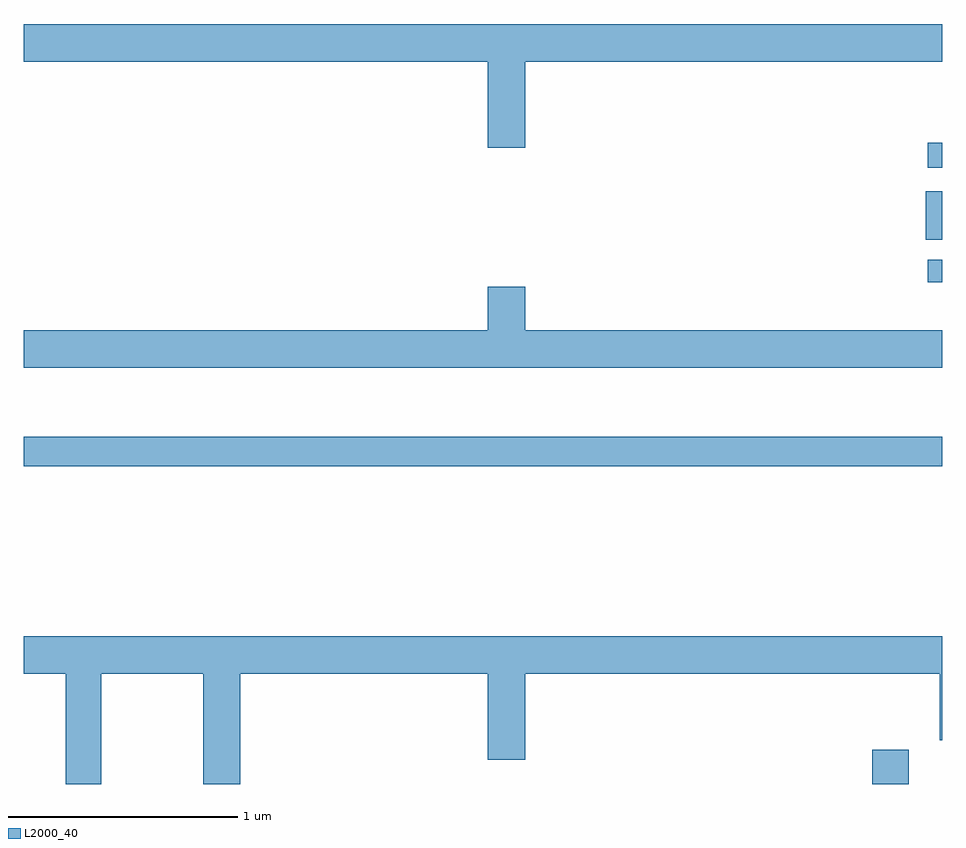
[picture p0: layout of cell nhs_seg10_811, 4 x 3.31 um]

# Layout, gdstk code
import gdstk
lib = gdstk.Library(unit=1e-6, precision=1e-09)
def R(c, l, rs):  # rectangles x0, y0, x1, y1
    for r in rs: c.add(gdstk.rectangle(r[:2], r[2:], *l))
def P(c, l, *ps):  # polygons
    for p in ps: c.add(gdstk.Polygon(p, *l))
L2000_40 = (2000, 40)

nhs_seg10_811 = lib.new_cell('nhs_seg10_811')
R(nhs_seg10_811, L2000_40, [(154.694,1302.5,154.854,1302.649), (151,1303.882,155,1304.011), (154.935,1304.685,155,1304.781), (154.928,1304.87,155,1305.079), (154.935,1305.183,155,1305.292)])
P(nhs_seg10_811, L2000_40, [(153.184,1305.644),(155,1305.644),(155,1305.808),(151,1305.808),(151,1305.644),(153.02,1305.644),(153.02,1305.27),(153.184,1305.27)],
  [(155,1304.476),(153.184,1304.476),(153.184,1304.665),(153.02,1304.665),(153.02,1304.476),(151,1304.476),(151,1304.312),(155,1304.312)],
  [(151.338,1302.98),(151.783,1302.98),(151.783,1302.5),(151.943,1302.5),(151.943,1302.98),(153.02,1302.98),(153.02,1302.606),(153.184,1302.606),(153.184,1302.98),(154.988,1302.98),(154.988,1302.69),(155,1302.69),(155,1303.144),(151,1303.144),(151,1302.98),(151.183,1302.98),(151.183,1302.5),(151.338,1302.5)])

lib.write_gds('nhs_seg10_811.gds')
